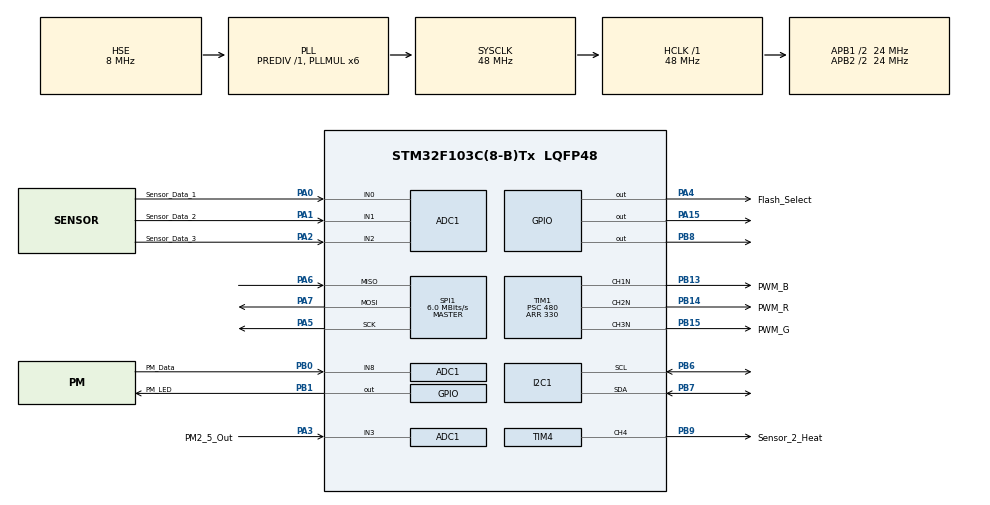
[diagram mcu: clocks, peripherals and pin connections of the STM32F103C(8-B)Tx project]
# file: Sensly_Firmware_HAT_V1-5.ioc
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ADC1.Channel-0\#ChannelRegularConversion=ADC_CHANNEL_0
ADC1.Channel-1\#ChannelRegularConversion=ADC_CHANNEL_1
ADC1.Channel-2\#ChannelRegularConversion=ADC_CHANNEL_2
ADC1.Channel-3\#ChannelRegularConversion=ADC_CHANNEL_3
ADC1.Channel-4\#ChannelRegularConversion=ADC_CHANNEL_8
ADC1.ContinuousConvMode=ENABLE
ADC1.DataAlign=ADC_DATAALIGN_RIGHT
ADC1.DiscontinuousConvMode=DISABLE
ADC1.EnableAnalogWatchDog=false
ADC1.EnableRegularConversion=ENABLE
ADC1.ExternalTrigConv=ADC_SOFTWARE_START
ADC1.InjNumberOfConversion=0
ADC1.NbrOfConversion=5
ADC1.NbrOfConversionFlag=1
ADC1.Rank-0\#ChannelRegularConversion=1
ADC1.Rank-1\#ChannelRegularConversion=2
ADC1.Rank-2\#ChannelRegularConversion=3
ADC1.Rank-3\#ChannelRegularConversion=4
ADC1.Rank-4\#ChannelRegularConversion=5
ADC1.SamplingTime-0\#ChannelRegularConversion=ADC_SAMPLETIME_13CYCLES_5
ADC1.SamplingTime-1\#ChannelRegularConversion=ADC_SAMPLETIME_13CYCLES_5
ADC1.SamplingTime-2\#ChannelRegularConversion=ADC_SAMPLETIME_13CYCLES_5
ADC1.SamplingTime-3\#ChannelRegularConversion=ADC_SAMPLETIME_13CYCLES_5
ADC1.SamplingTime-4\#ChannelRegularConversion=ADC_SAMPLETIME_13CYCLES_5
ADC1.ScanConvMode=ADC_SCAN_ENABLE
ADC1.master=1
Dma.ADC1.4.Direction=DMA_PERIPH_TO_MEMORY
Dma.ADC1.4.Instance=DMA1_Channel1
Dma.ADC1.4.MemDataAlignment=DMA_MDATAALIGN_HALFWORD
Dma.ADC1.4.MemInc=DMA_MINC_ENABLE
Dma.ADC1.4.Mode=DMA_CIRCULAR
Dma.ADC1.4.PeriphDataAlignment=DMA_PDATAALIGN_HALFWORD
Dma.ADC1.4.PeriphInc=DMA_PINC_DISABLE
Dma.ADC1.4.Priority=DMA_PRIORITY_LOW
Dma.I2C1_RX.0.Direction=DMA_PERIPH_TO_MEMORY
Dma.I2C1_RX.0.Instance=DMA1_Channel7
Dma.I2C1_RX.0.MemDataAlignment=DMA_MDATAALIGN_BYTE
Dma.I2C1_RX.0.MemInc=DMA_MINC_ENABLE
Dma.I2C1_RX.0.Mode=DMA_NORMAL
Dma.I2C1_RX.0.PeriphDataAlignment=DMA_PDATAALIGN_BYTE
Dma.I2C1_RX.0.PeriphInc=DMA_PINC_DISABLE
Dma.I2C1_RX.0.Priority=DMA_PRIORITY_LOW
Dma.I2C1_TX.1.Direction=DMA_MEMORY_TO_PERIPH
Dma.I2C1_TX.1.Instance=DMA1_Channel6
Dma.I2C1_TX.1.MemDataAlignment=DMA_MDATAALIGN_BYTE
Dma.I2C1_TX.1.MemInc=DMA_MINC_ENABLE
Dma.I2C1_TX.1.Mode=DMA_NORMAL
Dma.I2C1_TX.1.PeriphDataAlignment=DMA_PDATAALIGN_BYTE
Dma.I2C1_TX.1.PeriphInc=DMA_PINC_DISABLE
Dma.I2C1_TX.1.Priority=DMA_PRIORITY_LOW
Dma.Request0=I2C1_RX
Dma.Request1=I2C1_TX
Dma.Request2=SPI1_RX
Dma.Request3=SPI1_TX
Dma.Request4=ADC1
Dma.SPI1_RX.2.Direction=DMA_PERIPH_TO_MEMORY
Dma.SPI1_RX.2.Instance=DMA1_Channel2
Dma.SPI1_RX.2.MemDataAlignment=DMA_MDATAALIGN_BYTE
Dma.SPI1_RX.2.MemInc=DMA_MINC_ENABLE
Dma.SPI1_RX.2.Mode=DMA_NORMAL
Dma.SPI1_RX.2.PeriphDataAlignment=DMA_PDATAALIGN_BYTE
Dma.SPI1_RX.2.PeriphInc=DMA_PINC_DISABLE
Dma.SPI1_RX.2.Priority=DMA_PRIORITY_LOW
Dma.SPI1_TX.3.Direction=DMA_MEMORY_TO_PERIPH
Dma.SPI1_TX.3.Instance=DMA1_Channel3
Dma.SPI1_TX.3.MemDataAlignment=DMA_MDATAALIGN_BYTE
Dma.SPI1_TX.3.MemInc=DMA_MINC_ENABLE
Dma.SPI1_TX.3.Mode=DMA_NORMAL
Dma.SPI1_TX.3.PeriphDataAlignment=DMA_PDATAALIGN_BYTE
Dma.SPI1_TX.3.PeriphInc=DMA_PINC_DISABLE
Dma.SPI1_TX.3.Priority=DMA_PRIORITY_LOW
FREERTOS.Tasks01=defaultTask,0,128,StartDefaultTask,Default,NULL
I2C1.I2C_Mode=I2C_Standard
I2C1.OwnAddress=10
Mcu.Family=STM32F1
Mcu.Name=STM32F103C(8-B)Tx
Mcu.Package=LQFP48
NVIC.ADC1_2_IRQn=true\:5\:0\:false\:true\:true\:3\:true\:true
NVIC.DMA1_Channel1_IRQn=true\:5\:0\:false\:false\:true\:true\:false
NVIC.DMA1_Channel2_IRQn=true\:5\:0\:false\:false\:true\:true\:false
NVIC.DMA1_Channel3_IRQn=true\:5\:0\:false\:false\:true\:true\:false
NVIC.DMA1_Channel6_IRQn=true\:5\:0\:false\:false\:true\:true\:false
NVIC.DMA1_Channel7_IRQn=true\:5\:0\:false\:false\:true\:true\:false
NVIC.I2C1_ER_IRQn=true\:5\:0\:false\:false\:true\:true\:true
NVIC.I2C1_EV_IRQn=true\:5\:0\:false\:true\:true\:2\:true\:true
NVIC.PriorityGroup=NVIC_PRIORITYGROUP_4
NVIC.RCC_IRQn=true\:5\:0\:false\:false\:true\:true\:true
NVIC.SPI1_IRQn=true\:5\:0\:false\:true\:true\:1\:true\:true
NVIC.TIM1_BRK_IRQn=true\:5\:0\:false\:false\:true\:true\:true
NVIC.TIM1_CC_IRQn=true\:5\:0\:false\:false\:true\:true\:true
NVIC.TIM1_TRG_COM_IRQn=true\:5\:0\:false\:false\:true\:true\:true
NVIC.TIM1_UP_IRQn=true\:5\:0\:false\:false\:true\:true\:true
NVIC.TIM3_IRQn=true\:0\:0\:false\:false\:true\:false\:false
NVIC.TIM4_IRQn=true\:5\:0\:false\:false\:true\:true\:true
NVIC.TimeBase=TIM3_IRQn
NVIC.TimeBaseIP=TIM3
PA0-WKUP.GPIO_Label=Sensor_Data_1
PA0-WKUP.Signal=ADCx_IN0
PA1.GPIO_Label=Sensor_Data_2
PA1.Signal=ADCx_IN1
PA13.Mode=Serial_Wire
PA13.Signal=SYS_JTMS-SWDIO
PA14.Mode=Serial_Wire
PA14.Signal=SYS_JTCK-SWCLK
PA15.Signal=GPIO_Output
PA2.GPIO_Label=Sensor_Data_3
PA2.Signal=ADCx_IN2
PA3.GPIO_Label=PM2_5_Out
PA3.Signal=ADCx_IN3
PA4.GPIO_Label=Flash_Select
PA4.Signal=GPIO_Output
PA5.Mode=Full_Duplex_Master
PA5.Signal=SPI1_SCK
PA6.Mode=Full_Duplex_Master
PA6.Signal=SPI1_MISO
PA7.Mode=Full_Duplex_Master
PA7.Signal=SPI1_MOSI
PB0.GPIO_Label=PM_Data
PB0.Signal=ADCx_IN8
PB1.GPIO_Label=PM_LED
PB1.Signal=GPIO_Output
PB13.GPIO_Label=PWM_B
PB13.Mode=PWM Generation1 CH1N
PB13.Signal=TIM1_CH1N
PB14.GPIO_Label=PWM_R
PB14.Mode=PWM Generation2 CH2N
PB14.Signal=TIM1_CH2N
PB15.GPIO_Label=PWM_G
PB15.Mode=PWM Generation3 CH3N
PB15.Signal=TIM1_CH3N
PB6.Mode=I2C
PB6.Signal=I2C1_SCL
PB7.Mode=I2C
PB7.Signal=I2C1_SDA
PB8.Signal=GPIO_Output
PB9.GPIO_Label=Sensor_2_Heat
PB9.Signal=S_TIM4_CH4
PD0-OSC_IN.Mode=HSE-External-Oscillator
PD0-OSC_IN.Signal=RCC_OSC_IN
PD1-OSC_OUT.Mode=HSE-External-Oscillator
PD1-OSC_OUT.Signal=RCC_OSC_OUT
ProjectManager.HeapSize=0x200
ProjectManager.StackSize=0x400
ProjectManager.TargetToolchain=TrueSTUDIO
RCC.ADCPresc=RCC_ADCPCLK2_DIV6
RCC.AHBFreq_Value=48000000
RCC.APB1CLKDivider=RCC_HCLK_DIV2
RCC.APB1Freq_Value=24000000
RCC.APB1TimFreq_Value=48000000
RCC.APB2CLKDivider=RCC_HCLK_DIV2
RCC.APB2Freq_Value=24000000
RCC.APB2TimCLKDivider=2
RCC.APB2TimFreq_Value=48000000
RCC.HCLKFreq_Value=48000000
RCC.PLLMUL=RCC_PLL_MUL6
RCC.PLLSourceVirtual=RCC_PLLSOURCE_HSE
RCC.SYSCLKFreq_VALUE=48000000
RCC.SYSCLKSource=RCC_SYSCLKSOURCE_PLLCLK
RCC.USBFreq_Value=48000000
SH.ADCx_IN0.0=ADC1_IN0,IN0
SH.ADCx_IN1.0=ADC1_IN1,IN1
SH.ADCx_IN2.0=ADC1_IN2,IN2
SH.ADCx_IN3.0=ADC1_IN3,IN3
SH.ADCx_IN8.0=ADC1_IN8,IN8
SH.S_TIM4_CH4.0=TIM4_CH4,PWM Generation4 CH4
SPI1.BaudRatePrescaler=SPI_BAUDRATEPRESCALER_4
SPI1.CalculateBaudRate=6.0 MBits/s
SPI1.Direction=SPI_DIRECTION_2LINES
SPI1.Mode=SPI_MODE_MASTER
SPI1.VirtualType=VM_MASTER
TIM1.Channel-PWM\ Generation1\ CH1N=TIM_CHANNEL_1
TIM1.Channel-PWM\ Generation2\ CH2N=TIM_CHANNEL_2
TIM1.Channel-PWM\ Generation3\ CH3N=TIM_CHANNEL_3
TIM1.Period=330
TIM1.Prescaler=480
TIM4.Channel-Output\ Compare1\ No\ Output=TIM_CHANNEL_1
TIM4.Channel-PWM\ Generation4\ CH4=TIM_CHANNEL_4
TIM4.OCMode_PWM-PWM\ Generation4\ CH4=TIM_OCMODE_PWM1
TIM4.Period=10000
TIM4.Prescaler=4800
VP_FREERTOS_VS_ENABLE.Mode=Enabled
VP_SYS_VS_tim3.Mode=TIM3
VP_TIM4_VS_no_output1.Mode=Output Compare1 No Output
board=Sensly_Firmware_V4

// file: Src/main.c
/**
  ******************************************************************************
  * @file           : main.c
  * @brief          : Main program body
  ******************************************************************************
  * This notice applies to any and all portions of this file
  * that are not between comment pairs USER CODE BEGIN and
  * USER CODE END. Other portions of this file, whether
  * inserted by the user or by software development tools
  * are owned by their respective copyright owners.
  *
  * Copyright (c) 2018 STMicroelectronics International N.V.
  * All rights reserved.
  *
  * Redistribution and use in source and binary forms, with or without
  * modification, are permitted, provided that the following conditions are met:
  *
  * 1. Redistribution of source code must retain the above copyright notice,
  *    this list of conditions and the following disclaimer.
  * 2. Redistributions in binary form must reproduce the above copyright notice,
  *    this list of conditions and the following disclaimer in the documentation
  *    and/or other materials provided with the distribution.
  * 3. Neither the name of STMicroelectronics nor the names of other
  *    contributors to this software may be used to endorse or promote products
  *    derived from this software without specific written permission.
  * 4. This software, including modifications and/or derivative works of this
  *    software, must execute solely and exclusively on microcontroller or
  *    microprocessor devices manufactured by or for STMicroelectronics.
  * 5. Redistribution and use of this software other than as permitted under
  *    this license is void and will automatically terminate your rights under
  *    this license.
  *
  * THIS SOFTWARE IS PROVIDED BY STMICROELECTRONICS AND CONTRIBUTORS "AS IS"
  * AND ANY EXPRESS, IMPLIED OR STATUTORY WARRANTIES, INCLUDING, BUT NOT
  * LIMITED TO, THE IMPLIED WARRANTIES OF MERCHANTABILITY, FITNESS FOR A
  * PARTICULAR PURPOSE AND NON-INFRINGEMENT OF THIRD PARTY INTELLECTUAL PROPERTY
  * RIGHTS ARE DISCLAIMED TO THE FULLEST EXTENT PERMITTED BY LAW. IN NO EVENT
  * SHALL STMICROELECTRONICS OR CONTRIBUTORS BE LIABLE FOR ANY DIRECT, INDIRECT,
  * INCIDENTAL, SPECIAL, EXEMPLARY, OR CONSEQUENTIAL DAMAGES (INCLUDING, BUT NOT
  * LIMITED TO, PROCUREMENT OF SUBSTITUTE GOODS OR SERVICES; LOSS OF USE, DATA,
  * OR PROFITS; OR BUSINESS INTERRUPTION) HOWEVER CAUSED AND ON ANY THEORY OF
  * LIABILITY, WHETHER IN CONTRACT, STRICT LIABILITY, OR TORT (INCLUDING
  * NEGLIGENCE OR OTHERWISE) ARISING IN ANY WAY OUT OF THE USE OF THIS SOFTWARE,
  * EVEN IF ADVISED OF THE POSSIBILITY OF SUCH DAMAGE.
  *
  ******************************************************************************
  */
#include "main.h"
#include "stm32f1xx_hal.h"
#include "cmsis_os.h"
#include "adc.h"
#include "dma.h"
#include "i2c.h"
#include "spi.h"
#include "tim.h"
#include "gpio.h"

/* USER CODE BEGIN Includes */
#include "LED.h"
#include "Sensors.h"

/* USER CODE END Includes */

/* USER CODE BEGIN PV */
/* Private variables ---------------------------------------------------------*/
uint16_t count = 0;
uint8_t flag = 0;
/* USER CODE END PV */

void SystemClock_Config(void);
void MX_FREERTOS_Init(void);
static void MX_NVIC_Init(void);

/* USER CODE BEGIN PFP */
/* Private function prototypes -----------------------------------------------*/

/* USER CODE END PFP */

int main(void)
{

  /* MCU Configuration----------------------------------------------------------*/

  /* Reset of all peripherals, Initializes the Flash interface and the Systick. */
  HAL_Init();

  /* Configure the system clock */
  SystemClock_Config();

  /* Initialize all configured peripherals */
  MX_GPIO_Init();
  MX_DMA_Init();
  MX_ADC1_Init();
  MX_SPI1_Init();
  MX_TIM1_Init();
  MX_TIM4_Init();
  MX_I2C1_Init();

  /* Initialize interrupts */
  MX_NVIC_Init();
  /* USER CODE BEGIN 2 */
  LED_Init(&htim1);
  Counter_Init(&htim4);
  HeaterPWM_Init();
  /* USER CODE END 2 */

  /* Call init function for freertos objects (in freertos.c) */
  MX_FREERTOS_Init();

  /* Start scheduler */
  osKernelStart();

  /* We should never get here as control is now taken by the scheduler */

  /* Infinite loop */
  while (1)
  {

  }

}

void SystemClock_Config(void)
{

  RCC_OscInitTypeDef RCC_OscInitStruct;
  RCC_ClkInitTypeDef RCC_ClkInitStruct;
  RCC_PeriphCLKInitTypeDef PeriphClkInit;

    /**Initializes the CPU, AHB and APB busses clocks
    */
  RCC_OscInitStruct.OscillatorType = RCC_OSCILLATORTYPE_HSE;
  RCC_OscInitStruct.HSEState = RCC_HSE_ON;
  RCC_OscInitStruct.HSEPredivValue = RCC_HSE_PREDIV_DIV1;
  RCC_OscInitStruct.HSIState = RCC_HSI_ON;
  RCC_OscInitStruct.PLL.PLLState = RCC_PLL_ON;
  RCC_OscInitStruct.PLL.PLLSource = RCC_PLLSOURCE_HSE;
  RCC_OscInitStruct.PLL.PLLMUL = RCC_PLL_MUL6;
  if (HAL_RCC_OscConfig(&RCC_OscInitStruct) != HAL_OK)
  {
    _Error_Handler(__FILE__, __LINE__);
  }

    /**Initializes the CPU, AHB and APB busses clocks
    */
  RCC_ClkInitStruct.ClockType = RCC_CLOCKTYPE_HCLK|RCC_CLOCKTYPE_SYSCLK
                              |RCC_CLOCKTYPE_PCLK1|RCC_CLOCKTYPE_PCLK2;
  RCC_ClkInitStruct.SYSCLKSource = RCC_SYSCLKSOURCE_PLLCLK;
  RCC_ClkInitStruct.AHBCLKDivider = RCC_SYSCLK_DIV1;
  RCC_ClkInitStruct.APB1CLKDivider = RCC_HCLK_DIV2;
  RCC_ClkInitStruct.APB2CLKDivider = RCC_HCLK_DIV2;

  if (HAL_RCC_ClockConfig(&RCC_ClkInitStruct, FLASH_LATENCY_1) != HAL_OK)
  {
    _Error_Handler(__FILE__, __LINE__);
  }

  PeriphClkInit.PeriphClockSelection = RCC_PERIPHCLK_ADC;
  PeriphClkInit.AdcClockSelection = RCC_ADCPCLK2_DIV6;
  if (HAL_RCCEx_PeriphCLKConfig(&PeriphClkInit) != HAL_OK)
  {
    _Error_Handler(__FILE__, __LINE__);
  }

    /**Configure the Systick interrupt time
    */
  HAL_SYSTICK_Config(HAL_RCC_GetHCLKFreq()/1000);

    /**Configure the Systick
    */
  HAL_SYSTICK_CLKSourceConfig(SYSTICK_CLKSOURCE_HCLK);

  /* SysTick_IRQn interrupt configuration */
  HAL_NVIC_SetPriority(SysTick_IRQn, 15, 0);
}

/**
  * @brief NVIC Configuration.
  * @retval None
  */
static void MX_NVIC_Init(void)
{
  /* SPI1_IRQn interrupt configuration */
  HAL_NVIC_SetPriority(SPI1_IRQn, 5, 0);
  HAL_NVIC_EnableIRQ(SPI1_IRQn);
  /* I2C1_EV_IRQn interrupt configuration */
  HAL_NVIC_SetPriority(I2C1_EV_IRQn, 5, 0);
  HAL_NVIC_EnableIRQ(I2C1_EV_IRQn);
  /* ADC1_2_IRQn interrupt configuration */
  HAL_NVIC_SetPriority(ADC1_2_IRQn, 5, 0);
  HAL_NVIC_EnableIRQ(ADC1_2_IRQn);
}

void HAL_TIM_PeriodElapsedCallback(TIM_HandleTypeDef *htim)
{
  if (htim->Instance == TIM3) {
    HAL_IncTick();
  }
  /* USER CODE BEGIN Callback 1 */
  if (htim->Instance == TIM4) {
#ifndef CALIBRATION
	if (count == SENSOR_TIME_LOW && flag == 0)
		{
		  /* Set MQ7 heat pin voltage to 1.4V */
		  //LED_GREEN();
		  __HAL_TIM_SET_COMPARE(&htim4, MQ7HEATPIN, _1_4_V);
		  flag = 1;
		  count = 0;
		}
		/* When the count reaches the SENSOR_TIME_HIGH and the flag has been set to 1, set MQ7 heat pin to 5V */
		else if (count == SENSOR_TIME_HIGH && flag == 1)
		{
		  /* Set MQ7 heat pin voltage to 5V */
		  //LED_BLUE();
		  __HAL_TIM_SET_COMPARE(&htim4, MQ7HEATPIN, FULL_T4);
		  flag = 0;
		  count = 0;
		}
#endif
  	 count++;
  }
  /* When the count reaches the SENSOR_TIME_LOW and the flag has been set to 0, set MQ7 heat pin to 1.4V */

  /* USER CODE END Callback 1 */
}

void _Error_Handler(char *file, int line)
{
  while(1)
  {
  }
}

/************************ (C) COPYRIGHT STMicroelectronics *****END OF FILE****/

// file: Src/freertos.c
/**
  ******************************************************************************
  * File Name          : freertos.c
  * Description        : Code for freertos applications
  ******************************************************************************
  * This notice applies to any and all portions of this file
  * that are not between comment pairs USER CODE BEGIN and
  * USER CODE END. Other portions of this file, whether
  * inserted by the user or by software development tools
  * are owned by their respective copyright owners.
  *
  * Copyright (c) 2018 STMicroelectronics International N.V.
  * All rights reserved.
  *
  * Redistribution and use in source and binary forms, with or without
  * modification, are permitted, provided that the following conditions are met:
  *
  * 1. Redistribution of source code must retain the above copyright notice,
  *    this list of conditions and the following disclaimer.
  * 2. Redistributions in binary form must reproduce the above copyright notice,
  *    this list of conditions and the following disclaimer in the documentation
  *    and/or other materials provided with the distribution.
  * 3. Neither the name of STMicroelectronics nor the names of other
  *    contributors to this software may be used to endorse or promote products
  *    derived from this software without specific written permission.
  * 4. This software, including modifications and/or derivative works of this
  *    software, must execute solely and exclusively on microcontroller or
  *    microprocessor devices manufactured by or for STMicroelectronics.
  * 5. Redistribution and use of this software other than as permitted under
  *    this license is void and will automatically terminate your rights under
  *    this license.
  *
  * THIS SOFTWARE IS PROVIDED BY STMICROELECTRONICS AND CONTRIBUTORS "AS IS"
  * AND ANY EXPRESS, IMPLIED OR STATUTORY WARRANTIES, INCLUDING, BUT NOT
  * LIMITED TO, THE IMPLIED WARRANTIES OF MERCHANTABILITY, FITNESS FOR A
  * PARTICULAR PURPOSE AND NON-INFRINGEMENT OF THIRD PARTY INTELLECTUAL PROPERTY
  * RIGHTS ARE DISCLAIMED TO THE FULLEST EXTENT PERMITTED BY LAW. IN NO EVENT
  * SHALL STMICROELECTRONICS OR CONTRIBUTORS BE LIABLE FOR ANY DIRECT, INDIRECT,
  * INCIDENTAL, SPECIAL, EXEMPLARY, OR CONSEQUENTIAL DAMAGES (INCLUDING, BUT NOT
  * LIMITED TO, PROCUREMENT OF SUBSTITUTE GOODS OR SERVICES; LOSS OF USE, DATA,
  * OR PROFITS; OR BUSINESS INTERRUPTION) HOWEVER CAUSED AND ON ANY THEORY OF
  * LIABILITY, WHETHER IN CONTRACT, STRICT LIABILITY, OR TORT (INCLUDING
  * NEGLIGENCE OR OTHERWISE) ARISING IN ANY WAY OUT OF THE USE OF THIS SOFTWARE,
  * EVEN IF ADVISED OF THE POSSIBILITY OF SUCH DAMAGE.
  *
  ******************************************************************************
  */

#include "FreeRTOS.h"
#include "task.h"
#include "cmsis_os.h"

/* USER CODE BEGIN Includes */
#include "tim.h"
#include "LED.h"
#include "Sensors.h"
#include "adc.h"
#include "i2c.h"
#include "spi.h"
#include "Flash.h"
#include "gpio.h"
/* USER CODE END Includes */

osThreadId defaultTaskHandle;

/* USER CODE BEGIN Variables */
osThreadId heatThreadHandle;
extern uint8_t flag;
/* USER CODE END Variables */

void StartDefaultTask(void const * argument);

void MX_FREERTOS_Init(void); /* (MISRA C 2004 rule 8.1) */

/* USER CODE BEGIN FunctionPrototypes */
void StartHeatTask(void const * argument);

static int _filter(int m)
{
  static int flag_first = 0, _buff[10], sum;
  const int _buff_max = 10;
  int i;

  if(flag_first == 0)
  {
    flag_first = 1;

    for(i = 0, sum = 0; i < _buff_max; i++)
    {
      _buff[i] = m;
      sum += _buff[i];
    }
    return m;
  }
  else
  {
    sum -= _buff[0];
    for(i = 0; i < (_buff_max - 1); i++)
    {
      _buff[i] = _buff[i + 1];
    }
    _buff[9] = m;
    sum += _buff[9];

    i = sum / 10.0;
    return i;
  }
}
/* USER CODE END FunctionPrototypes */

/* Hook prototypes */

/* Init FreeRTOS */

void MX_FREERTOS_Init(void) {

  /* Create the thread(s) */
  /* definition and creation of defaultTask */
  osThreadDef(defaultTask, StartDefaultTask, osPriorityNormal, 0, 128);
  defaultTaskHandle = osThreadCreate(osThread(defaultTask), NULL);

  /* USER CODE BEGIN RTOS_THREADS */
  /* add threads, ... */
  osThreadDef(heatTask, StartHeatTask, osPriorityRealtime, 0, 128);
  heatThreadHandle = osThreadCreate(osThread(heatTask), NULL);
  /* USER CODE END RTOS_THREADS */

}

/* StartDefaultTask function */
void StartDefaultTask(void const * argument)
{

  /* USER CODE BEGIN StartDefaultTask */
  uint8_t ArraySize = 5;

  /* Sensor Variables */
  uint8_t cmd = 0x00;				/* I2C command buffer*/
  uint16_t RGB_Buffer[3];			/* LED colour buffer RGB[0] = RED, RGB[1] = Green, RGB[2] = Blue*/
  float Density = 0.00;				/* Density value calclated from PM10 Sensor */

  /* Flash Variables */

  /* ADC Variables */
  uint16_t Data2Send[ArraySize];	/* Buffer for data to be sent via I2C */
  uint32_t ADC_Buffer[ArraySize];	/* Buffer to Store ADC variables as they are read */

  /* Calibrate the ADC peripheral */
  if (HAL_ADCEx_Calibration_Start(&hadc1) != HAL_OK)
  {
	Error_Handler();
  }
  /* Start the ADC peripheral in Direct Memory Access(DMA) Mode */
  Enable_ADC_DMA(&hadc1, ADC_Buffer);
  /* Infinite loop */
  for(;;)
  {
	  /* Wait for initial command to send via I2C peripheral */
	  I2C_Read(&hi2c1,&cmd);

	  /* */
	  switch (cmd)
	  {
		  case 0x00:
			  LED_WHITE();
			  break;
		  case 0x01:
			  /* Get MQ2 Data from the ADC */
			  Get_Sensor_Data(&hadc1, Data2Send,ADC_Buffer,ArraySize);
			  /* Send MQ2 Data via I2C peripheral */
			  Send_Sensor_Data(&hi2c1, Data2Send, MQ2CMD);
			  /* Reset the ADC peripheral */
			  ADC_Reset(&hadc1, ADC_Buffer);
			  break;

		  case 0x02:
			  /* Get MQ7 Data from the ADC */
			  Get_Sensor_Data(&hadc1, Data2Send,ADC_Buffer,ArraySize);
			  /* Send MQ7 Data via I2C peripheral */
			  Send_Sensor_Data(&hi2c1, Data2Send, MQ7);
			  /* Reset the ADC peripheral */
			  ADC_Reset(&hadc1, ADC_Buffer);
			  break;

		  case 0x03:													// Get MQ135 Data
			  Get_Sensor_Data(&hadc1, Data2Send,ADC_Buffer,ArraySize);
			  Send_Sensor_Data(&hi2c1, Data2Send, MQ135);
			  /* Reset the ADC peripheral */
			  ADC_Reset(&hadc1, ADC_Buffer);
			  break;

		  case 0x04:													//Get PM Data
			  /* Turn on PM LED pin */
			  HAL_GPIO_WritePin(GPIOA, PM_LED_Pin,GPIO_PIN_SET);
			  /* Wait for reading to be ready */
			  PM_Wait();
			  /* Get the PM Data from the ADC */
			  Get_Sensor_Data(&hadc1,Data2Send,ADC_Buffer,ArraySize);
			  /* Take the average of the data read */
			  Data2Send[PM] = _filter(Data2Send[PM]);
			  /* Send PM Data via I2C peripheral */
			  Send_Sensor_Data(&hi2c1, Data2Send, PM);
			  /* Reset the ADC peripheral */
			  ADC_Reset(&hadc1, ADC_Buffer);
			  /* Turn off PM LED pin */
			  HAL_GPIO_WritePin(GPIOA, PM_LED_Pin,GPIO_PIN_RESET);
			  break;

		  case 0x07:													// Set LED Colour
			  /* Get the RGB Values for the LED via I2C*/
			  Fetch_Data(&hi2c1,RGB_Buffer, 3);
			  /* Set the LED colour based on the value received */
			  LED_Colour(&htim1, RGB_Buffer[0], RGB_Buffer[1], RGB_Buffer[2]);
			  break;

		  default:
			  LED_RESET();
			  osDelay(1000);
			  LED_GREEN();
	  }
	osDelay(100);
  }
  /* USER CODE END StartDefaultTask */
}

/* USER CODE BEGIN Application */
void StartHeatTask(void const * argument)
{
	Heat_Sensor(GPIO_PIN_8,0);
	Heat_Sensor(MQ7HEATPIN,FULL_T4);
	Heat_Sensor(GPIO_PIN_15,0);

#ifdef CALIBRATION
	/* Infinite loop */
	for(;;)
	{
	  LED_Fade(&htim1);
	  osDelay(100);
	}
#else
	for(;;)
	{

	  osDelay(110);

	}
#endif
}
/* USER CODE END Application */

/************************ (C) COPYRIGHT STMicroelectronics *****END OF FILE****/
